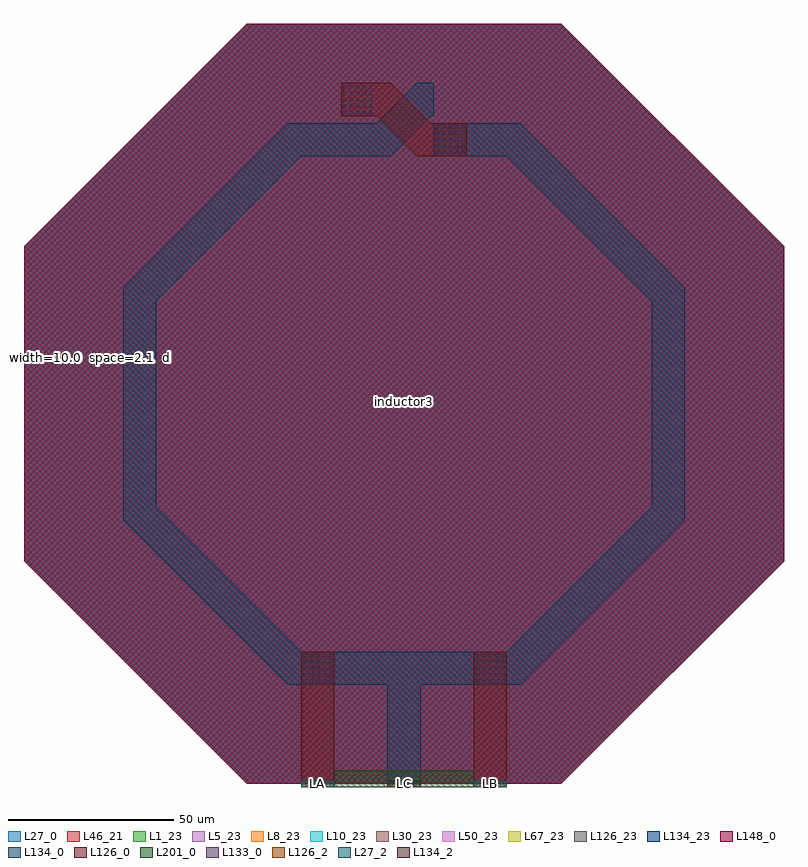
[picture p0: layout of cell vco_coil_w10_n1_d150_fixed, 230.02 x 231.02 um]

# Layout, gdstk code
import gdstk
lib = gdstk.Library(unit=1e-6, precision=1e-09)
def R(c, l, rs):  # rectangles x0, y0, x1, y1
    for r in rs: c.add(gdstk.rectangle(r[:2], r[2:], *l))
def A(c, l, x, y, w, h, nx, ny, dx, dy):  # array of equal rectangles
    R(c, l, [(x+i*dx, y+j*dy, x+i*dx+w, y+j*dy+h) for i in range(nx) for j in range(ny)])
def P(c, l, *ps):  # polygons
    for p in ps: c.add(gdstk.Polygon(p, *l))
L1_23 = (1, 23)
L5_23 = (5, 23)
L8_23 = (8, 23)
L10_23 = (10, 23)
L27_0 = (27, 0)
L27_2 = (27, 2)
L30_23 = (30, 23)
L46_21 = (46, 21)
L50_23 = (50, 23)
L67_23 = (67, 23)
L126_0 = (126, 0)
L126_2 = (126, 2)
L126_23 = (126, 23)
L133_0 = (133, 0)
L134_0 = (134, 0)
L134_2 = (134, 2)
L134_23 = (134, 23)
L148_0 = (148, 0)
L201_0 = (201, 0)

vco_coil_w10_n1_d150_fix = lib.new_cell('vco_coil_w10_n1_d150_fixed')
P(vco_coil_w10_n1_d150_fix, L1_23, [(-47.635,0),(-115.01,67.375),(-115.01,162.645),(-47.635,230.02),(47.635,230.02),(115.01,162.645),(115.01,67.375),(47.635,0)])
P(vco_coil_w10_n1_d150_fix, L5_23, [(-47.635,0),(-115.01,67.375),(-115.01,162.645),(-47.635,230.02),(47.635,230.02),(115.01,162.645),(115.01,67.375),(47.635,0)])
P(vco_coil_w10_n1_d150_fix, L8_23, [(-47.635,0),(-115.01,67.375),(-115.01,162.645),(-47.635,230.02),(47.635,230.02),(115.01,162.645),(115.01,67.375),(47.635,0)])
P(vco_coil_w10_n1_d150_fix, L10_23, [(-47.635,0),(-115.01,67.375),(-115.01,162.645),(-47.635,230.02),(47.635,230.02),(115.01,162.645),(115.01,67.375),(47.635,0)])
P(vco_coil_w10_n1_d150_fix, L27_0, [(-47.635,0),(-115.01,67.375),(-115.01,162.645),(-47.635,230.02),(47.635,230.02),(115.01,162.645),(115.01,67.375),(47.635,0)])
A(vco_coil_w10_n1_d150_fix, L27_2, -31.11, -1, 10, 2, 3, 1, 26.11, 0)
P(vco_coil_w10_n1_d150_fix, L30_23, [(-47.635,0),(-115.01,67.375),(-115.01,162.645),(-47.635,230.02),(47.635,230.02),(115.01,162.645),(115.01,67.375),(47.635,0)])
P(vco_coil_w10_n1_d150_fix, L46_21, [(-47.635,0),(-115.01,67.375),(-115.01,162.645),(-47.635,230.02),(47.635,230.02),(115.01,162.645),(115.01,67.375),(47.635,0)])
P(vco_coil_w10_n1_d150_fix, L50_23, [(-47.635,0),(-115.01,67.375),(-115.01,162.645),(-47.635,230.02),(47.635,230.02),(115.01,162.645),(115.01,67.375),(47.635,0)])
P(vco_coil_w10_n1_d150_fix, L67_23, [(-47.635,0),(-115.01,67.375),(-115.01,162.645),(-47.635,230.02),(47.635,230.02),(115.01,162.645),(115.01,67.375),(47.635,0)])
P(vco_coil_w10_n1_d150_fix, L126_0, [(4,190),(-8.12,202.12),(-19.01,202.12),(-19.01,212.12),(-4,212.12),(8.12,200),(19.01,200),(19.01,190)])
R(vco_coil_w10_n1_d150_fix, L126_2, [(-31.11,-1,-21.11,1), (-31.11,-1,-21.11,1), (21.11,-1,31.11,1), (21.11,-1,31.11,1)])
P(vco_coil_w10_n1_d150_fix, L126_23, [(-47.635,0),(-115.01,67.375),(-115.01,162.645),(-47.635,230.02),(47.635,230.02),(115.01,162.645),(115.01,67.375),(47.635,0)])
A(vco_coil_w10_n1_d150_fix, L133_0, -30.48, 30.63, 0.9, 0.9, 5, 5, 1.96, 1.96)
A(vco_coil_w10_n1_d150_fix, L133_0, 21.74, 30.63, 0.9, 0.9, 5, 5, 1.96, 1.96)
A(vco_coil_w10_n1_d150_fix, L133_0, 9.64, 190.63, 0.9, 0.9, 5, 5, 1.96, 1.96)
A(vco_coil_w10_n1_d150_fix, L133_0, -18.38, 202.73, 0.9, 0.9, 5, 5, 1.96, 1.96)
R(vco_coil_w10_n1_d150_fix, L134_0, [(-9.01,30,9.01,40)])
P(vco_coil_w10_n1_d150_fix, L134_0, [(7.1,30),(7.1,40),(31.065,40),(75,83.935),(75,146.065),(31.065,190),(9.01,190),(9.01,200),(35.215,200),(85,150.215),(85,79.785),(35.215,30)],
  [(-35.215,30),(-85,79.785),(-85,150.215),(-35.215,200),(-9.01,200),(-9.01,190),(-31.065,190),(-75,146.065),(-75,83.935),(-31.065,40),(-7.1,40),(-7.1,30)],
  [(-9.01,190),(-9.01,200),(-8.12,200),(4,212.12),(9.01,212.12),(9.01,202.12),(8.15,202.12),(-3.97,190)])
R(vco_coil_w10_n1_d150_fix, L134_2, [(-5,-1,5,1), (-5,-1,5,1)])
P(vco_coil_w10_n1_d150_fix, L134_23, [(-47.635,0),(-115.01,67.375),(-115.01,162.645),(-47.635,230.02),(47.635,230.02),(115.01,162.645),(115.01,67.375),(47.635,0)])
P(vco_coil_w10_n1_d150_fix, L148_0, [(-47.635,0),(-115.01,67.375),(-115.01,162.645),(-47.635,230.02),(47.635,230.02),(115.01,162.645),(115.01,67.375),(47.635,0)])
R(vco_coil_w10_n1_d150_fix, L201_0, [(-21.11,-1,21.11,4)])
vco_coil_w10_n1_d150_fix.add(gdstk.FlexPath([(0,-1),(0,30)], 10, ends="flush", simple_path=True, layer=134, datatype=0))  # L134_0
vco_coil_w10_n1_d150_fix.add(gdstk.FlexPath([(26.11,-1),(26.11,40)], 10, ends="flush", simple_path=True, layer=126, datatype=0))  # L126_0
vco_coil_w10_n1_d150_fix.add(gdstk.FlexPath([(-26.11,-1),(-26.11,40)], 10, ends="flush", simple_path=True, layer=126, datatype=0))  # L126_0
vco_coil_w10_n1_d150_fix.add(gdstk.Label('LC', (0,0), layer=27, texttype=25))
vco_coil_w10_n1_d150_fix.add(gdstk.Label('LB', (26.11,0), layer=27, texttype=25))
vco_coil_w10_n1_d150_fix.add(gdstk.Label('LA', (-26.11,0), layer=27, texttype=25))
vco_coil_w10_n1_d150_fix.add(gdstk.Label('inductor3', (0,115.575), layer=63, texttype=0))
vco_coil_w10_n1_d150_fix.add(gdstk.Label('  width=10.0\n  space=2.1\n  diameter=150.00\n  turns=1', (-115.01,128.952), layer=63, texttype=0))

lib.write_gds('vco_coil_w10_n1_d150_fixed.gds')
